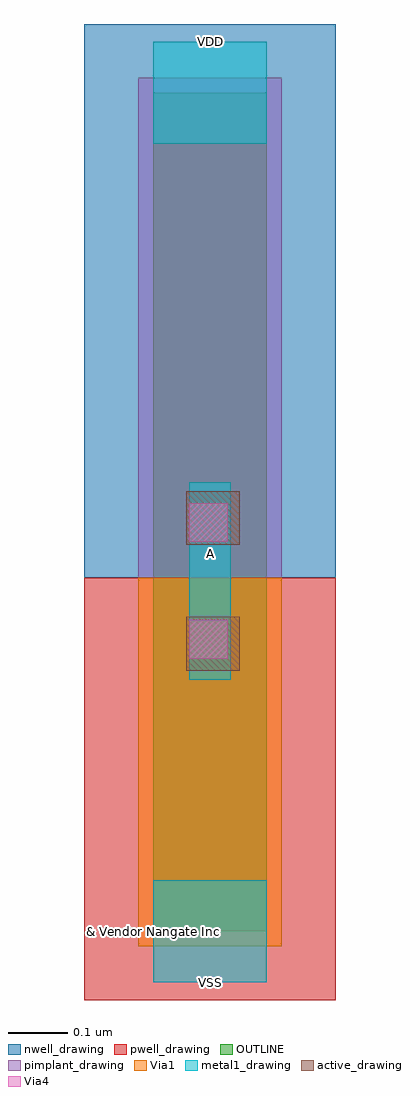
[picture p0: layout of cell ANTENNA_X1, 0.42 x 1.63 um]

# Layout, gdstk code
import gdstk
lib = gdstk.Library(unit=1e-6, precision=1e-10)
def R(c, l, rs):  # rectangles x0, y0, x1, y1
    for r in rs: c.add(gdstk.rectangle(r[:2], r[2:], *l))
active_drawing = (1, 0)
pwell_drawing = (2, 0)
nwell_drawing = (3, 0)
Via1 = (4, 0)
pimplant_drawing = (5, 0)
Via4 = (10, 0)
metal1_drawing = (11, 0)
OUTLINE = (235, 0)

antenna_x1 = lib.new_cell('ANTENNA_X1')
R(antenna_x1, active_drawing, [(0.055,0.435,0.145,0.525), (0.055,0.645,0.145,0.735)])
R(antenna_x1, pwell_drawing, [(-0.115,-0.115,0.305,0.59)])
R(antenna_x1, nwell_drawing, [(-0.115,0.59,0.305,1.515)])
R(antenna_x1, Via1, [(-0.025,-0.025,0.215,0.59)])
R(antenna_x1, pimplant_drawing, [(-0.025,0.59,0.215,1.425)])
R(antenna_x1, Via4, [(0.06,0.455,0.125,0.52), (0.06,0.65,0.125,0.715)])
R(antenna_x1, metal1_drawing, [(0,-0.085,0.19,0.085), (0.06,0.42,0.13,0.75), (0,1.315,0.19,1.485)])
R(antenna_x1, OUTLINE, [(0,0,0.19,1.4)])
antenna_x1.add(gdstk.Label('A', (0.095,0.63), layer=11, texttype=0))
antenna_x1.add(gdstk.Label('VDD', (0.095,1.485), layer=11, texttype=0))
antenna_x1.add(gdstk.Label('VSS', (0.095,-0.085), layer=11, texttype=0))
antenna_x1.add(gdstk.Label('& Vendor Nangate Inc', (0,0), layer=63, texttype=63))
antenna_x1.add(gdstk.Label('& Product Open Cell Library', (0,0), layer=63, texttype=63))
antenna_x1.add(gdstk.Label('& Version 2010_12', (0,0), layer=63, texttype=63))
antenna_x1.add(gdstk.Label('& Instance ANTENNA_X1', (0,0), layer=63, texttype=63))

lib.write_gds('ANTENNA_X1.gds')
